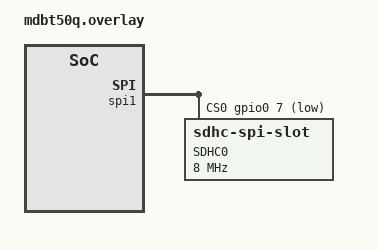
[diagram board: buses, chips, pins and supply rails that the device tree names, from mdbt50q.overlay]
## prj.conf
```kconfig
CONFIG_STDOUT_CONSOLE=y

#USB related configs
CONFIG_USB_DEVICE_STACK=y
CONFIG_USB_DEVICE_PRODUCT="Zephyr MSC sample"
CONFIG_LOG=y
CONFIG_USB_DRIVER_LOG_LEVEL_ERR=y
CONFIG_USB_MASS_STORAGE=y
CONFIG_USB_DEVICE_LOG_LEVEL_ERR=y
CONFIG_USB_MASS_STORAGE_LOG_LEVEL_ERR=y

CONFIG_MAIN_STACK_SIZE=4096

CONFIG_DISK_ACCESS=y
CONFIG_LOG=y
CONFIG_FILE_SYSTEM=y
CONFIG_FAT_FILESYSTEM_ELM=y
CONFIG_PRINTK=y
CONFIG_DISK_DRIVER_SDMMC=y
CONFIG_APP_MSC_STORAGE_SDCARD=y
# SPI
CONFIG_SPI=y
CONFIG_SPI_NRFX_RAM_BUFFER_SIZE=8
```

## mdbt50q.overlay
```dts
// To get started, press Ctrl+Space to bring up the completion menu and view the available nodes.

// You can also use the buttons in the sidebar to perform actions on nodes.
// Actions currently available include:

// * Enabling / disabling the node
// * Adding the bus to a bus
// * Removing the node
// * Connecting ADC channels

// For more help, browse the DeviceTree documentation at https://docs.zephyrproject.org/latest/guides/dts/index.html
// You can also visit the nRF DeviceTree extension documentation at https://nrfconnect.github.io/vscode-nrf-connect/devicetree/nrfdevicetree.html

&spi1 {
	status = "okay";
	cs-gpios = <&gpio0 7 GPIO_ACTIVE_LOW>;

	sdhc0: sdhc@0 {
			compatible = "zephyr,sdhc-spi-slot";
			reg = <0>;
			status = "okay";
			mmc {
				compatible = "zephyr,sdmmc-disk";
				status = "okay";
			};
			label = "SDHC0";
			spi-max-frequency = <8000000>;
	};
};
```

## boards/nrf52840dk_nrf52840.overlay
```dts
&spi1 {
	status = "okay";
	cs-gpios = <&gpio1 7 GPIO_ACTIVE_LOW>;

	sdhc0: sdhc@0 {
			compatible = "zephyr,sdhc-spi-slot";
			reg = <0>;
			status = "okay";
			mmc {
				compatible = "zephyr,sdmmc-disk";
				status = "okay";
			};
			label = "SDHC0";
			spi-max-frequency = <24000000>;
	};
};
```

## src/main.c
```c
/*
 * Copyright (c) 2016 Intel Corporation.
 * Copyright (c) 2019-2020 Nordic Semiconductor ASA
 *
 * SPDX-License-Identifier: Apache-2.0
 */

#include <zephyr/kernel.h>
#include <zephyr/logging/log.h>
#include <zephyr/usb/usb_device.h>
#include <zephyr/fs/fs.h>
#include <zephyr/fs/fs_interface.h>
#include <stdio.h>

LOG_MODULE_REGISTER(main);

#if CONFIG_FAT_FILESYSTEM_ELM
#include <ff.h>
#endif

static struct fs_mount_t fs_mnt;
static struct fs_file_t fs;

static int mount_app_fs(struct fs_mount_t *mnt)
{
	int rc;

	static FATFS fat_fs;

	mnt->type = FS_FATFS;
	mnt->fs_data = &fat_fs;	
	mnt->mnt_point = "/SD:";
	
	rc = fs_mount(mnt);

	return rc;
}

static void setup_disk(void)
{
	struct fs_mount_t *mp = &fs_mnt;
	struct fs_dir_t dir;
	struct fs_statvfs sbuf;
	int rc;

	fs_file_t_init(&fs);

	fs_dir_t_init(&dir);

	if (IS_ENABLED(CONFIG_DISK_DRIVER_FLASH)) {
		rc = setup_flash(mp);
		if (rc < 0) {
			LOG_ERR("Failed to setup flash area");
			return;
		}
	}

	if (!IS_ENABLED(CONFIG_FILE_SYSTEM_LITTLEFS) &&
	    !IS_ENABLED(CONFIG_FAT_FILESYSTEM_ELM)) {
		LOG_INF("No file system selected");
		return;
	}

	rc = mount_app_fs(mp);
	if (rc < 0) {
		LOG_ERR("Failed to mount filesystem");
		return;
	}

	/* Allow log messages to flush to avoid interleaved output */
	k_sleep(K_MSEC(50));

	printk("Mount %s: %d\n", fs_mnt.mnt_point, rc);

	rc = fs_statvfs(mp->mnt_point, &sbuf);
	if (rc < 0) {
		printk("FAIL: statvfs: %d\n", rc);
		return;
	}

	printk("%s: bsize = %lu ; frsize = %lu ;"
	       " blocks = %lu ; bfree = %lu\n",
	       mp->mnt_point,
	       sbuf.f_bsize, sbuf.f_frsize,
	       sbuf.f_blocks, sbuf.f_bfree);

	rc = fs_opendir(&dir, mp->mnt_point);
	printk("%s opendir: %d\n", mp->mnt_point, rc);

	if (rc < 0) {
		LOG_ERR("Failed to open directory");
	}

	while (rc >= 0) {
		struct fs_dirent ent = { 0 };

		rc = fs_readdir(&dir, &ent);
		if (rc < 0) {
			LOG_ERR("Failed to read directory entries");
			break;
		}
		if (ent.name[0] == 0) {
			printk("End of files\n");
			break;
		}
		printk("  %c %u %s\n",
		       (ent.type == FS_DIR_ENTRY_FILE) ? 'F' : 'D',
		       ent.size,
		       ent.name);
	}

	(void)fs_closedir(&dir);

	return;
}

void main(void)
{
	int ret;

	setup_disk();

	ret = usb_enable(NULL);
	if (ret != 0) {
		LOG_ERR("Failed to enable USB");
		return;
	}

	LOG_INF("The device is put in USB mass storage mode.\n");

	char string[] = "Hello world\r\n";

	fs_open(&fs, "/SD:/data.txt", FS_O_RDWR | FS_O_CREATE |FS_O_APPEND);
	fs_write(&fs, string, sizeof(string));
	fs_close(&fs);
}
```
